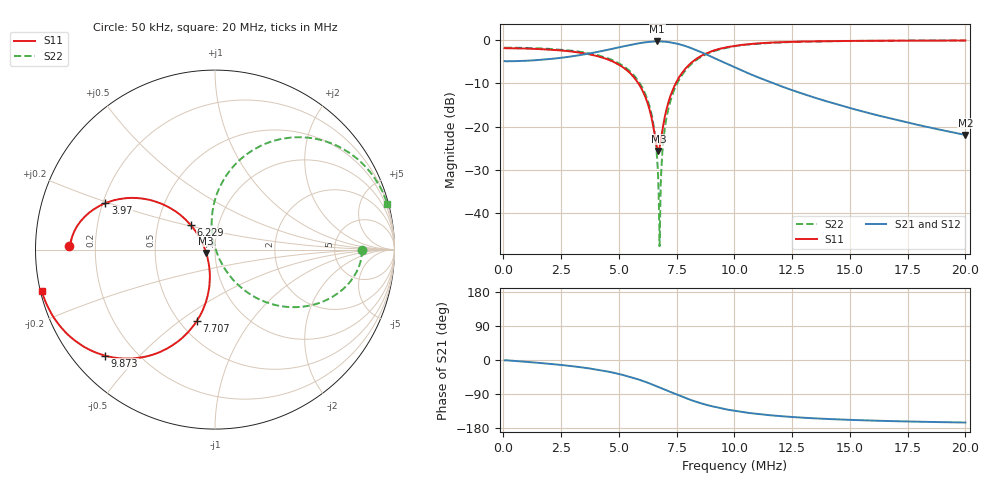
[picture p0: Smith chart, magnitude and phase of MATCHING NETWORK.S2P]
!Keysight Technologies,E5063A,MY54100949,A.07.00
!Date: Tue Nov 25 20:39:45 2025
!Data & Calibration Information:
!Freq	S11:SOLT2(ON)	S21:SOLT2(ON)	S12:SOLT2(ON)	S22:SOLT2(ON)
# Hz S RI R 50
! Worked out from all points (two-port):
!   10001 points, 50 kHz to 20 MHz, reference 50 ohm
!   highest |S21| = -0.27 dB at 6.661 MHz (marker M1); lowest = -21.9 dB at 20 MHz (marker M2)
!   |S21| within 3 dB of the highest: 3.503 MHz to 8.778 MHz (5.274 MHz wide, 85.9 % of centre)
!   lowest |S11| = -25.6 dB at 6.707 MHz (marker M3), VSWR 1.11, Z = 45.3 - j1.64 ohm
!   |S11| at or under -10 dB: 5.843 MHz to 7.458 MHz (1.615 MHz wide, 24.3 % of centre)
!   |S22| runs from -47.7 to -0.1 dB; largest |S21 - S12| = 0.0033
!   S11 on the Smith chart (normalised r, x): 50 kHz: 0.10, +0.01; 3.97 MHz: 0.21, +0.19; 6.229 MHz: 0.74, +0.21; 7.707 MHz: 0.61, -0.58; 9.873 MHz: 0.09, -0.40; 20 MHz: 0.00, -0.12
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50000  -0.8119 0.0211  0.5726 -0.00839  0.5727 -0.0083  0.8199 -0.00163
3375665  -0.6775 0.2227  0.6386 -0.2245  0.6379 -0.2234  0.6905 -0.239
3970175  -0.6111 0.2585  0.6575 -0.3013  0.657 -0.2999  0.6216 -0.2806
5412560  -0.338 0.27  0.6353 -0.5997  0.6355 -0.5977  0.332 -0.3077
5883380  -0.2184 0.212  0.5671 -0.729  0.5679 -0.7267  0.2021 -0.253
6228515  -0.1342 0.1357  0.4825 -0.8204  0.4837 -0.8181  0.1092 -0.1769
6519785  -0.0761 0.0482  0.3872 -0.8847  0.3889 -0.8826  0.043 -0.0874
6607565  -0.0623 0.0176  0.3542 -0.9004  0.356 -0.8982  0.0269 -0.0559
6661430  -0.0546 -0.00108  0.3341 -0.9095  0.3357 -0.907  0.0175 -0.0363
6701330  -0.0499 -0.016  0.3181 -0.9149  0.3199 -0.9125  0.0117 -0.0212
6707315  -0.0491 -0.018  0.3158 -0.9158  0.3176 -0.9134  0.0108 -0.0189
6805070  -0.0392 -0.0549  0.2759 -0.9275  0.2777 -0.9251  -0.00137 0.0197
6934745  -0.0311 -0.1059  0.2212 -0.9381  0.2231 -0.936  -0.0129 0.0726
7110305  -0.0293 -0.1758  0.1457 -0.9429  0.1476 -0.941  -0.0187 0.1466
7359680  -0.0456 -0.274  0.0394 -0.9305  0.0415 -0.9287  -0.00692 0.251
7706810  -0.1008 -0.3967  -0.0949 -0.8787  -0.0926 -0.8775  0.0449 0.3833
8644460  -0.3423 -0.584  -0.3101 -0.6401  -0.3078 -0.64  0.2901 0.5936
9873380  -0.6113 -0.5912  -0.3431 -0.3694  -0.3414 -0.37  0.5731 0.6147
1.0025e7  -0.6353 -0.5841  -0.3385 -0.3453  -0.3369 -0.3458  0.5987 0.6084
1.335066e7  -0.8815 -0.403  -0.1985 -0.0988  -0.198 -0.0994  0.8664 0.4298
1.667633e7  -0.9423 -0.2951  -0.1187 -0.0408  -0.1185 -0.0412  0.9348 0.3191
2e7  -0.965 -0.2319  -0.0772 -0.0207  -0.0772 -0.021  0.9611 0.2539
